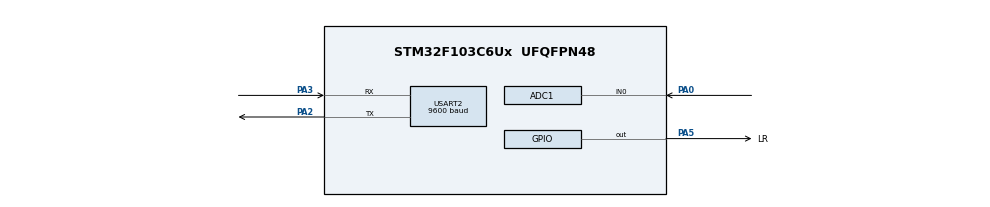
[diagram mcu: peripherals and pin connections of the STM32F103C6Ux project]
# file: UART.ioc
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ADC1.Channel-1\#ChannelRegularConversion=ADC_CHANNEL_0
ADC1.ContinuousConvMode=ENABLE
ADC1.NbrOfConversionFlag=1
ADC1.Rank-1\#ChannelRegularConversion=1
ADC1.SamplingTime-1\#ChannelRegularConversion=ADC_SAMPLETIME_1CYCLE_5
ADC1.master=1
Mcu.Family=STM32F1
Mcu.Name=STM32F103C6Ux
Mcu.Package=UFQFPN48
NVIC.PriorityGroup=NVIC_PRIORITYGROUP_4
NVIC.TIM2_IRQn=true\:0\:0\:false\:false\:true\:true\:true
NVIC.USART2_IRQn=true\:0\:0\:false\:false\:true\:true\:true
PA0-WKUP.Signal=ADCx_IN0
PA2.Mode=Asynchronous
PA2.Signal=USART2_TX
PA3.Mode=Asynchronous
PA3.Signal=USART2_RX
PA5.GPIO_Label=LR
PA5.Signal=GPIO_Output
ProjectManager.HeapSize=0x200
ProjectManager.StackSize=0x400
ProjectManager.TargetToolchain=STM32CubeIDE
RCC.APB1Freq_Value=8000000
RCC.APB2Freq_Value=8000000
SH.ADCx_IN0.0=ADC1_IN0,IN0
TIM2.Period=9
TIM2.Prescaler=7999
USART2.BaudRate=9600
USART2.VirtualMode=VM_ASYNC
VP_SYS_VS_ND.Mode=No_Debug
VP_TIM2_VS_ClockSourceINT.Mode=Internal
board=custom

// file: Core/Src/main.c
/* USER CODE BEGIN Header */
/**
  ******************************************************************************
  * @file           : main.c
  * @brief          : Main program body
  ******************************************************************************
  * @attention
  *
  * <h2><center>&copy; Copyright (c) 2024 STMicroelectronics.
  * All rights reserved.</center></h2>
  *
  * This software component is licensed by ST under BSD 3-Clause license,
  * the "License"; You may not use this file except in compliance with the
  * License. You may obtain a copy of the License at:
  *                        opensource.org/licenses/BSD-3-Clause
  *
  ******************************************************************************
  */
/* USER CODE END Header */
#include "main.h"

/* USER CODE BEGIN Includes */
#include "uart.h"
#include "timer.h"
/* USER CODE END Includes */

ADC_HandleTypeDef hadc1;

TIM_HandleTypeDef htim2;

UART_HandleTypeDef huart2;

void SystemClock_Config(void);
static void MX_TIM2_Init(void);
static void MX_GPIO_Init(void);
static void MX_ADC1_Init(void);
static void MX_USART2_UART_Init(void);

/* USER CODE BEGIN 0 */

void HAL_UART_RxCpltCallback ( UART_HandleTypeDef * huart ){
	if(huart->Instance == USART2){
		buffer[index_buffer++] = temp;
//		index_buffer = (index_buffer + 1) % MAX_BUFFER_SIZE;
		if(index_buffer > 30)	index_buffer = 0;
		buffer_flag = 1;
		HAL_UART_Transmit(&huart2, &temp, 1, 1000);
		HAL_UART_Receive_IT(&huart2, &temp, 1);
	}
}
/* USER CODE END 0 */

int main(void)
{

  /* MCU Configuration--------------------------------------------------------*/

  /* Reset of all peripherals, Initializes the Flash interface and the Systick. */
  HAL_Init();

  /* Configure the system clock */
  SystemClock_Config();

  /* Initialize all configured peripherals */
  MX_TIM2_Init();
  MX_GPIO_Init();
  MX_ADC1_Init();
  MX_USART2_UART_Init();
  /* USER CODE BEGIN 2 */
  HAL_UART_Receive_IT (&huart2 , &temp , 1);
  HAL_TIM_Base_Start_IT(&htim2);
  /* USER CODE END 2 */

  /* Infinite loop */
  /* USER CODE BEGIN WHILE */
  setTimer1(1000);
  uint8_t pData[] = "Welcome...\r\n";
  HAL_Delay(1000);
  HAL_UART_Transmit(&huart2, pData, sizeof(pData), 1000);
  HAL_UART_Receive_IT(&huart2, &temp, 1);

  while (1)
  {
	  if(buffer_flag){
		  command_parser_fsm();
		  buffer_flag = 0;
	  }

	  uart_communiation_fsm();

//	  if(getFlag1()){
//		HAL_GPIO_TogglePin(LR_GPIO_Port, LR_Pin);
//		setTimer0(1000);
//	  }
    /* USER CODE END WHILE */

  }
}

void SystemClock_Config(void)
{
  RCC_OscInitTypeDef RCC_OscInitStruct = {0};
  RCC_ClkInitTypeDef RCC_ClkInitStruct = {0};
  RCC_PeriphCLKInitTypeDef PeriphClkInit = {0};

  /** Initializes the RCC Oscillators according to the specified parameters
  * in the RCC_OscInitTypeDef structure.
  */
  RCC_OscInitStruct.OscillatorType = RCC_OSCILLATORTYPE_HSI;
  RCC_OscInitStruct.HSIState = RCC_HSI_ON;
  RCC_OscInitStruct.HSICalibrationValue = RCC_HSICALIBRATION_DEFAULT;
  RCC_OscInitStruct.PLL.PLLState = RCC_PLL_NONE;
  if (HAL_RCC_OscConfig(&RCC_OscInitStruct) != HAL_OK)
  {
    Error_Handler();
  }
  /** Initializes the CPU, AHB and APB buses clocks
  */
  RCC_ClkInitStruct.ClockType = RCC_CLOCKTYPE_HCLK|RCC_CLOCKTYPE_SYSCLK
                              |RCC_CLOCKTYPE_PCLK1|RCC_CLOCKTYPE_PCLK2;
  RCC_ClkInitStruct.SYSCLKSource = RCC_SYSCLKSOURCE_HSI;
  RCC_ClkInitStruct.AHBCLKDivider = RCC_SYSCLK_DIV1;
  RCC_ClkInitStruct.APB1CLKDivider = RCC_HCLK_DIV1;
  RCC_ClkInitStruct.APB2CLKDivider = RCC_HCLK_DIV1;

  if (HAL_RCC_ClockConfig(&RCC_ClkInitStruct, FLASH_LATENCY_0) != HAL_OK)
  {
    Error_Handler();
  }
  PeriphClkInit.PeriphClockSelection = RCC_PERIPHCLK_ADC;
  PeriphClkInit.AdcClockSelection = RCC_ADCPCLK2_DIV2;
  if (HAL_RCCEx_PeriphCLKConfig(&PeriphClkInit) != HAL_OK)
  {
    Error_Handler();
  }
}

static void MX_ADC1_Init(void)
{

  ADC_ChannelConfTypeDef sConfig = {0};

  /** Common config
  */
  hadc1.Instance = ADC1;
  hadc1.Init.ScanConvMode = ADC_SCAN_DISABLE;
  hadc1.Init.ContinuousConvMode = ENABLE;
  hadc1.Init.DiscontinuousConvMode = DISABLE;
  hadc1.Init.ExternalTrigConv = ADC_SOFTWARE_START;
  hadc1.Init.DataAlign = ADC_DATAALIGN_RIGHT;
  hadc1.Init.NbrOfConversion = 1;
  if (HAL_ADC_Init(&hadc1) != HAL_OK)
  {
    Error_Handler();
  }
  /** Configure Regular Channel
  */
  sConfig.Channel = ADC_CHANNEL_0;
  sConfig.Rank = ADC_REGULAR_RANK_1;
  sConfig.SamplingTime = ADC_SAMPLETIME_1CYCLE_5;
  if (HAL_ADC_ConfigChannel(&hadc1, &sConfig) != HAL_OK)
  {
    Error_Handler();
  }

}

static void MX_TIM2_Init(void)
{

  TIM_ClockConfigTypeDef sClockSourceConfig = {0};
  TIM_MasterConfigTypeDef sMasterConfig = {0};

  htim2.Instance = TIM2;
  htim2.Init.Prescaler = 7999;
  htim2.Init.CounterMode = TIM_COUNTERMODE_UP;
  htim2.Init.Period = 9;
  htim2.Init.ClockDivision = TIM_CLOCKDIVISION_DIV1;
  htim2.Init.AutoReloadPreload = TIM_AUTORELOAD_PRELOAD_DISABLE;
  if (HAL_TIM_Base_Init(&htim2) != HAL_OK)
  {
    Error_Handler();
  }
  sClockSourceConfig.ClockSource = TIM_CLOCKSOURCE_INTERNAL;
  if (HAL_TIM_ConfigClockSource(&htim2, &sClockSourceConfig) != HAL_OK)
  {
    Error_Handler();
  }
  sMasterConfig.MasterOutputTrigger = TIM_TRGO_RESET;
  sMasterConfig.MasterSlaveMode = TIM_MASTERSLAVEMODE_DISABLE;
  if (HAL_TIMEx_MasterConfigSynchronization(&htim2, &sMasterConfig) != HAL_OK)
  {
    Error_Handler();
  }

}

static void MX_USART2_UART_Init(void)
{

  huart2.Instance = USART2;
  huart2.Init.BaudRate = 9600;
  huart2.Init.WordLength = UART_WORDLENGTH_8B;
  huart2.Init.StopBits = UART_STOPBITS_1;
  huart2.Init.Parity = UART_PARITY_NONE;
  huart2.Init.Mode = UART_MODE_TX_RX;
  huart2.Init.HwFlowCtl = UART_HWCONTROL_NONE;
  huart2.Init.OverSampling = UART_OVERSAMPLING_16;
  if (HAL_UART_Init(&huart2) != HAL_OK)
  {
    Error_Handler();
  }

}

static void MX_GPIO_Init(void)
{
  GPIO_InitTypeDef GPIO_InitStruct = {0};

  /* GPIO Ports Clock Enable */
  __HAL_RCC_GPIOA_CLK_ENABLE();

  /*Configure GPIO pin Output Level */
  HAL_GPIO_WritePin(LR_GPIO_Port, LR_Pin, GPIO_PIN_RESET);

  /*Configure GPIO pin : LR_Pin */
  GPIO_InitStruct.Pin = LR_Pin;
  GPIO_InitStruct.Mode = GPIO_MODE_OUTPUT_PP;
  GPIO_InitStruct.Pull = GPIO_NOPULL;
  GPIO_InitStruct.Speed = GPIO_SPEED_FREQ_LOW;
  HAL_GPIO_Init(LR_GPIO_Port, &GPIO_InitStruct);

}

/* USER CODE BEGIN 4 */
void HAL_TIM_PeriodElapsedCallback(TIM_HandleTypeDef *htim) {
	timer_run();

}
/* USER CODE END 4 */

void Error_Handler(void)
{
  __disable_irq();
  while (1)
  {
  }
}

/************************ (C) COPYRIGHT STMicroelectronics *****END OF FILE****/
